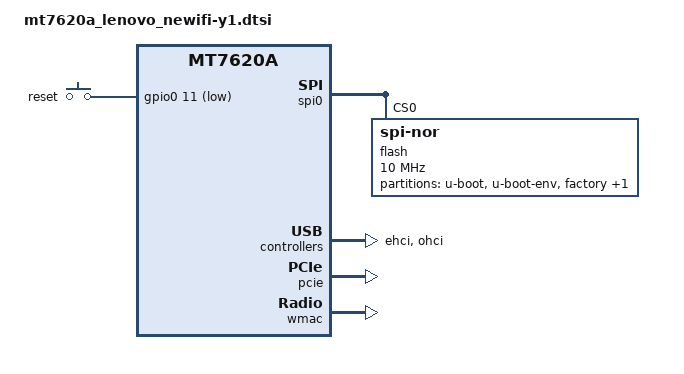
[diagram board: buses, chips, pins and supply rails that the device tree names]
#include "mt7620a.dtsi"

#include <dt-bindings/gpio/gpio.h>
#include <dt-bindings/input/input.h>

/ {
	compatible = "lenovo,newifi-y1", "ralink,mt7620a-soc";

	chosen {
		bootargs = "console=ttyS0,115200";
	};

	keys {
		compatible = "gpio-keys";

		reset {
			label = "reset";
			gpios = <&gpio0 11 GPIO_ACTIVE_LOW>;
			linux,code = <KEY_RESTART>;
		};
	};
};

&gpio2 {
	status = "okay";
};

&gpio3 {
	status = "okay";
};

&spi0 {
	status = "okay";

	flash@0 {
		compatible = "jedec,spi-nor";
		reg = <0>;
		spi-max-frequency = <10000000>;

		partitions {
			compatible = "fixed-partitions";
			#address-cells = <1>;
			#size-cells = <1>;

			partition@0 {
				label = "u-boot";
				reg = <0x0 0x30000>;
				read-only;
			};

			partition@30000 {
				label = "u-boot-env";
				reg = <0x30000 0x10000>;
				read-only;
			};

			factory: partition@40000 {
				label = "factory";
				reg = <0x40000 0x10000>;
				read-only;
			};

			partition@50000 {
				compatible = "denx,uimage";
				label = "firmware";
				reg = <0x50000 0xfb0000>;
			};
		};
	};
};

&ehci {
	status = "okay";
};

&ohci {
	status = "okay";
};

&pcie {
	status = "okay";
};

&pcie0 {
	mt76@0,0 {
		reg = <0x0000 0 0 0 0>;
		mediatek,mtd-eeprom = <&factory 0x8000>;
		ieee80211-freq-limit = <5000000 6000000>;
	};
};

&wmac {
	ralink,mtd-eeprom = <&factory 0x0>;
	pinctrl-names = "default";
	pinctrl-0 = <&pa_pins>;
};

&state_default {
	gpio {
		groups = "uartf", "wled", "nd_sd";
		function = "gpio";
	};
};
